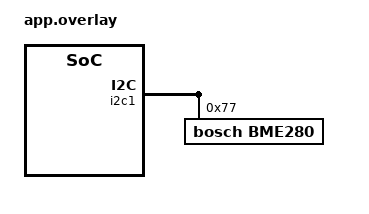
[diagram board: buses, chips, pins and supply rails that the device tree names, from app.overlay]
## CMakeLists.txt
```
cmake_minimum_required(VERSION 3.20.0)

find_package(Zephyr REQUIRED HINTS $ENV{ZEPHYR_BASE})

project(temp_and_humidity_monitor)

set(SRC_DIR ${CMAKE_CURRENT_LIST_DIR}/src)
set(NOTE_C_SRC_DIR ${SRC_DIR}/note-c)
set(NEVM_SRC_DIR ${SRC_DIR}/notecard_env_var_manager/src)

zephyr_compile_options(
    # -ggdb
    # -Og
    -O2
    -Wall
    # -Wextra
    -Wno-unused-parameter
    # -Wpedantic
)

target_sources(
    app
    PRIVATE
        # Application sources.
        ${SRC_DIR}/actuator.c
        ${SRC_DIR}/main.c
        ${SRC_DIR}/note_c_hooks.c
        # note-c sources.
        ${NOTE_C_SRC_DIR}/n_atof.c
        ${NOTE_C_SRC_DIR}/n_cjson.c
        ${NOTE_C_SRC_DIR}/n_const.c
        ${NOTE_C_SRC_DIR}/n_helpers.c
        ${NOTE_C_SRC_DIR}/n_i2c.c
        ${NOTE_C_SRC_DIR}/n_printf.c
        ${NOTE_C_SRC_DIR}/n_serial.c
        ${NOTE_C_SRC_DIR}/n_ua.c
        ${NOTE_C_SRC_DIR}/n_b64.c
        ${NOTE_C_SRC_DIR}/n_cjson_helpers.c
        ${NOTE_C_SRC_DIR}/n_ftoa.c
        ${NOTE_C_SRC_DIR}/n_hooks.c
        ${NOTE_C_SRC_DIR}/n_md5.c
        ${NOTE_C_SRC_DIR}/n_request.c
        ${NOTE_C_SRC_DIR}/n_str.c
        # Notecard env var manager sources.
        ${NEVM_SRC_DIR}/NotecardEnvVarManager.c
)
target_include_directories(
    app
    PRIVATE
        ${SRC_DIR}
        ${NOTE_C_SRC_DIR}
        ${NEVM_SRC_DIR}
)
```

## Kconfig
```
# Copyright (c) 2020, Nordic Semiconductor ASA
# SPDX-License-Identifier: Apache-2.0

config LOG
    default y

config LOG_PRINTK
    default y

config SENSOR_LOG_LEVEL
    default 4

# Enable SPI and I2C support by default so that the sample works with
# the device connected either way. These defaults can be overridden if
# needed.
config SPI
    default y

config I2C
    default y

source "Kconfig.zephyr"
```

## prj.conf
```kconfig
# Provides access to onboard LED
CONFIG_GPIO=y

# Notecard Communication Channel
CONFIG_I2C=y

# Required by `note-c`
CONFIG_NEWLIB_LIBC=y

# Debugging Configuration
CONFIG_PRINTK=y

# Needed to use the BME280 via Zephyr's sensor API.
CONFIG_SENSOR=y
```

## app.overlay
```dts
&i2c1 {
    status = "okay";
    bme280@77 {
        compatible = "bosch,bme280";
        reg = <0x77>;
    };
};

&{/gpio_keys} {
    actuator_pin: actuator_pin {
        label = "Actuator";
        gpios = <&gpioa 4 GPIO_ACTIVE_HIGH>;
    };

    attn_pin: attn_pin {
        label = "ATTN";
        gpios = <&gpioa 5 GPIO_ACTIVE_HIGH>;
    };
};

&{/aliases} {
    actuator = &actuator_pin;
    attn = &attn_pin;
};
```

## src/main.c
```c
//
// Copyright 2022 Blues Inc.  All rights reserved.
// Use of this source code is governed by licenses granted by the
// copyright holder including that found in the LICENSE file.
//

#include <stdlib.h>
#include <string.h>

#include <zephyr/drivers/sensor.h>
#include <zephyr/sys/printk.h>
#include <zephyr/device.h>

#include <note.h>
#include <NotecardEnvVarManager.h>

#include "actuator.h"
#include "note_c_hooks.h"

// Uncomment this line and replace com.your-company:your-product-name with your
// ProductUID.
#define PRODUCT_UID "com.blues.eoss"

#ifndef PRODUCT_UID
#define PRODUCT_UID "" // "com.my-company.my-name:my-project"
#pragma message "PRODUCT_UID is not defined in this example. Please ensure your Notecard has a product identifier set before running this example or define it in code here. More details at https://bit.ly/product-uid"
#endif

// Sync outbound notes to Notehub a minimum of every 3 minutes.
#define OUTBOUND_SYNC_MINS 3
// Check for environment variable changes every 30 seconds.
#define ENV_POLL_MS (30 * 1000)
// After triggering an alarm, raise the alarm every minute after that.
#define ALARM_REFRESH_MS (60 * 1000)
// Read the sensor every minute.
#define SENSOR_READ_INTERVAL_MS (60 * 1000)
// Publish temperature and humidity every 3 minutes.
#define REPORT_INTERVAL_DEFAULT_MS (180 * 1000)
// Temperature in C.
#define TEMPERATURE_MIN_DEFAULT 5
#define TEMPERATURE_MAX_DEFAULT 33
// Relative humidity.
#define HUMIDITY_MIN_DEFAULT 20
#define HUMIDITY_MAX_DEFAULT 70

typedef struct AppState {
    uint32_t lastEnvVarPollMs;
    uint32_t envLastModTime;
    uint32_t reportIntervalMs;
    uint32_t reportLastUpdateMs;
    uint32_t sensorLastReadMs;
    uint32_t lastAlarmMs;
    float temperatureMin;
    float temperatureMax;
    float humidityMin;
    float humidityMax;
    float temperature;
    float humidity;
} AppState;

volatile static bool notecard_lock = false;
static const char *envVarNames[] = {
    "report_interval",
    "temperature_threshold_min",
    "temperature_threshold_max",
    "humidity_threshold_min",
    "humidity_threshold_max"
};
AppState state = {0};
NotecardEnvVarManager *envVarManager;
const struct device *const bme280 = DEVICE_DT_GET_ANY(bosch_bme280);

// The environment variable manager callback is called once for each variable
// that has changed.
void envVarManagerCb(const char *var, const char *val, void *ctx) {
    AppState *state = (AppState *)ctx;

    // Convert value string to positive float values
    char *endPtr;
    float value = strtof(val, &endPtr);
    if ((value == 0 && val == endPtr) || value < 0) {
        printk("ERROR: Failed to convert %s to positive "
            "float for %s variable.\n", val, var);
        return;
    }

    // Cache the values for each variable.
    if (strcmp(var, "report_interval") == 0)
    {
        state->reportIntervalMs = (uint32_t)(value * 1000);
        printk("Report interval set to %u ms.\n",
            state->reportIntervalMs);
    }
    else if (strcmp(var, "temperature_threshold_min") == 0)
    {
        state->temperatureMin = value;
        printk("Temperature min set to %sC.\n", val);
    }
    else if (strcmp(var, "temperature_threshold_max") == 0)
    {
        state->temperatureMax = value;
        printk("Temperature max set to %sC.\n", val);
    }
    else if (strcmp(var, "humidity_threshold_min") == 0)
    {
        state->humidityMin = value;
        printk("Humidity min set to %s%%.\n", val);
    }
    else if (strcmp(var, "humidity_threshold_max") == 0)
    {
        state->humidityMax = value;
        printk("Humidity max set to %s%%.\n", val);
    }
    else
    {
        printk("Unknown environment variable %s.\n", var);
    }
}

// Simple mutex for the I2C bus. This will spin forever until the lock is released.
void lockNotecard(void)
{
    while (notecard_lock) {
        NoteDelayMs(1);
    }

    notecard_lock = true;
}

void unlockNotecard(void)
{
    notecard_lock = false;
}


// Check for environment variable changes. Returns true if there are changes and
// false otherwise.
bool pollEnvVars()
{
    uint32_t currentMs = platform_millis();

    // Don't check for changes unless its time to do so.
    if (currentMs - state.lastEnvVarPollMs < ENV_POLL_MS) {
        return false;
    }

    state.lastEnvVarPollMs = currentMs;

    J *rsp = NoteRequestResponse(NoteNewRequest("env.modified"));
    if (rsp == NULL) {
        printk("NULL response to env.modified.\n");
        return false;
    }

    uint32_t modifiedTime = JGetInt(rsp, "time");
    NoteDeleteResponse(rsp);
    // If the last modified timestamp is the same as the one we've got saved,
    // there have been no changes.
    if (state.envLastModTime == modifiedTime) {
        return false;
    }

    state.envLastModTime = modifiedTime;

    printk("Environment variable changed detected.\n");

    return true;
}

// Add a note with temperature and humidity data to data.qo. The note will be
// synced to Notehub according to the interval set with hub.set's outbound
// parameter in the setup function (see OUTBOUND_SYNC_MINS).
void publishSystemStatus()
{
    J *req = NoteNewRequest("note.add");
    if (req != NULL) {
        JAddStringToObject(req, "file", "data.qo");

        J *body = JCreateObject();
        if (body != NULL) {
            JAddNumberToObject(body, "temperature", state.temperature);
            JAddNumberToObject(body, "humidity", state.humidity);
            JAddStringToObject(body, "app", "nf18");
            JAddItemToObject(req, "body", body);

            NoteRequest(req);
        }
        else {
            printk("Failed to create body for system status "
                "update.\n");
        }
    }
    else {
        printk("Failed to create note.add request for system status "
            "update.\n");
    }
}

// Used in the main loop to check for and accept environment variable updates.
// If any variables are updated, this function sends a note to Notehub to
// acknowledge the update.
void updateEnvVars()
{
    if (pollEnvVars()) {
        NotecardEnvVarManager_fetch(envVarManager, envVarNames, (sizeof(envVarNames) / sizeof(envVarNames[0])));

        // Generate a note to Notehub to acknowledge the update.
        J *req = NoteNewRequest("note.add");
        if (req != NULL) {
            JAddStringToObject(req, "file", "notify.qo");
            JAddBoolToObject(req, "sync", true);

            J *body = JCreateObject();
            if (body != NULL) {
                JAddStringToObject(body, "message", "environment variable "
                    "update received");
                JAddItemToObject(req, "body", body);
                NoteRequest(req);
            }
            else {
                free(req);
                printk("Failed to create note body for env var "
                    "update ack.\n");
            }
        }
        else {
            printk("Failed to create note.add request for env "
                "var update ack.\n");
        }
    }
}

// One-time Arduino initialization.
void setup()
{
    // Set up debug output via serial connection.
#define RELEASE
#ifndef RELEASE
#warning "Debug mode is enabled. Define RELEASE to disable debug."
    NoteSetFnDebugOutput(noteLogPrint);
#endif

    // Initialize the physical I/O channel to the Notecard.
    NoteSetFnMutex(NULL, NULL, lockNotecard, unlockNotecard);
    NoteSetFnDefault(malloc, free, platform_delay, platform_millis);
    NoteSetFnI2C(NOTE_I2C_ADDR_DEFAULT, NOTE_I2C_MAX_DEFAULT, noteI2cReset,
                 noteI2cTransmit, noteI2cReceive);

    // Initialize the Notecard Environment Variable Manager.
    envVarManager = NotecardEnvVarManager_alloc();
    if (envVarManager == NULL) {
        printk("Failed to allocate NotecardEnvVarManager.\n");
    }
    else {
        NotecardEnvVarManager_setEnvVarCb(envVarManager, envVarManagerCb, &state);
    }

    // Set defaults.
    state.reportIntervalMs = REPORT_INTERVAL_DEFAULT_MS;
    state.temperatureMin = TEMPERATURE_MIN_DEFAULT;
    state.temperatureMax = TEMPERATURE_MAX_DEFAULT;
    state.humidityMin = HUMIDITY_MIN_DEFAULT;
    state.humidityMax = HUMIDITY_MAX_DEFAULT;

    // Configure the productUID and instruct the Notecard to sync outbound notes
    // a minimum of every OUTBOUND_SYNC_MINS minutes.
    J *req = NoteNewRequest("hub.set");
    if (PRODUCT_UID[0]) {
       JAddStringToObject(req, "product", PRODUCT_UID);
    }
    JAddStringToObject(req, "mode", "continuous");
    JAddBoolToObject(req, "sync", true);
    JAddNumberToObject(req, "outbound", OUTBOUND_SYNC_MINS);
    NoteRequest(req);

    // Send a note to _health.qo when USB power is lost or restored.
    req = NoteNewRequest("card.voltage");
    JAddBoolToObject(req, "usb", true);
    JAddBoolToObject(req, "alert", true);
    JAddBoolToObject(req, "sync", true);
    NoteRequest(req);

    updateEnvVars();
    initActuator();

    // Initialize the BME280 sensor
    if (!device_is_ready(bme280)) {
        printk("getDevice: error: Device \"%s\" is not ready; "
               "check the driver initialization logs for errors.\n",
               bme280->name);
    }
    else {
        printk("Connected to BME280.\n");
    }
}

void readSensor()
{
    struct sensor_value temperature, humidity;
    sensor_sample_fetch(bme280);
    sensor_channel_get(bme280, SENSOR_CHAN_AMBIENT_TEMP, &temperature);
    sensor_channel_get(bme280, SENSOR_CHAN_HUMIDITY, &humidity);
    state.temperature = sensor_value_to_double(&temperature);
    state.humidity = sensor_value_to_double(&humidity);
}

// Construct an alarm note and add it to alarm.qo, syncing it to Notehub
// immediately.
void publishAlarm(const char *temperatureStatus, const char *humidityStatus)
{
    if (temperatureStatus == NULL || humidityStatus == NULL) {
        printk("publishAlarm called with a NULL status.\n");
        return;
    }

    J *req = NoteNewRequest("note.add");
    if (req != NULL) {
        JAddStringToObject(req, "file", "alarm.qo");
        JAddBoolToObject(req, "sync", true);

        J *body = JCreateObject();
        if (body != NULL) {
            J *temperatureBody = JCreateObject();
            if (temperatureBody != NULL){
                JAddNumberToObject(temperatureBody, "value", state.temperature);
                JAddStringToObject(temperatureBody, "status",
                    temperatureStatus);
                JAddItemToObject(body, "temperature", temperatureBody);

                J *humidityBody = JCreateObject();
                if (humidityBody != NULL){
                    JAddNumberToObject(humidityBody, "value", state.humidity);
                    JAddStringToObject(humidityBody, "status", humidityStatus);
                    JAddItemToObject(body, "humidity", humidityBody);
                }
                else {
                    printk("Failed to create humidity body for "
                        "alarm.\n");
                }
            }
            else {
                printk("Failed to create temperature body for "
                    "alarm.\n");
            }

            JAddItemToObject(req, "body", body);

            NoteRequest(req);
        }
        else {
            printk("Failed to create body for alarm.\n");
        }
    }
    else {
        printk("Failed to create note.add request for alarm.\n");
    }
}

static const char statusOk[] = "ok";
static const char statusLow[] = "low";
static const char statusHigh[] = "high";

// Check if the temperature or humidity is outside the configured range for each
// value. If both are in range, do nothing. If either is out of range, send an
// alarm note to Notehub.
void checkAlarm()
{
    const char *temperatureStatus = statusOk;
    const char *humidityStatus = statusOk;

    if (state.temperature < state.temperatureMin) {
        temperatureStatus = statusLow;
    }
    else if (state.temperature > state.temperatureMax) {
        temperatureStatus = statusHigh;
    }

    if (state.humidity < state.humidityMin) {
        humidityStatus = statusLow;
    }
    else if (state.humidity > state.humidityMax) {
        humidityStatus = statusHigh;
    }

    // If either status is not "ok".
    if (strcmp(temperatureStatus, statusOk) ||
        strcmp(humidityStatus, statusOk)) {
        uint32_t currentMs = platform_millis();
        if (state.lastAlarmMs == 0 || (currentMs - state.lastAlarmMs) >=
            ALARM_REFRESH_MS) {
            state.lastAlarmMs = currentMs;
            publishAlarm(temperatureStatus, humidityStatus);
        }
    }
    else {
        state.lastAlarmMs = 0;
    }
}

void loop()
{
    updateEnvVars();

    uint32_t currentMs = platform_millis();
    if (currentMs - state.sensorLastReadMs >= SENSOR_READ_INTERVAL_MS) {
        state.sensorLastReadMs = currentMs;
        readSensor();
    }

    checkAlarm();

    currentMs = platform_millis();
    if (currentMs - state.reportLastUpdateMs >= state.reportIntervalMs) {
        state.reportLastUpdateMs = currentMs;
        publishSystemStatus();
    }
}

void NoteUserAgentUpdate(J *ua) {
    JAddStringToObject(ua, "app", "nf18");
}

// Simulate Arduino Runtime
int main (void) {
    setup();
    while(1) {
        loop();
    }
}
```

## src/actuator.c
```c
#include "actuator.h"

#include <stdlib.h>

#include <zephyr/drivers/gpio.h>
#include <zephyr/device.h>
#include <zephyr/kernel.h>

#include <note.h>
#include "note_c_hooks.h"

// Actuator pin
#define ACTUATOR_NODE DT_ALIAS(actuator)
#if !DT_NODE_HAS_STATUS(ACTUATOR_NODE, okay)
#error "Unsupported board: actuator devicetree alias is not defined"
#endif

static const struct gpio_dt_spec actuator = GPIO_DT_SPEC_GET_OR(ACTUATOR_NODE, gpios, {0});

// ATTN pin
#define ATTN_NODE DT_ALIAS(attn)
#if !DT_NODE_HAS_STATUS(ATTN_NODE, okay)
#error "Unsupported board: attn devicetree alias is not defined"
#endif

static const struct gpio_dt_spec attn = GPIO_DT_SPEC_GET_OR(ATTN_NODE, gpios, {0});

static struct gpio_callback attnIsrData;
static const char queue_file[] = "actuator.qi";

// Function declaration(s)
static void attnArm(void);
static void attnWorkCb(struct k_work *);
static void attnIsr(const struct device *, struct gpio_callback *, uint32_t);
static int configureGpio(void);
static void deleteNote(J *note_);
static J *dequeueCommand(bool pop_);
static J *emptyNotecardQueue(void);

// Arm the Notecard's ATTN interrupt.
static void attnArm(void)
{
    // Once ATTN has triggered, it stays set until explicitly rearmed. Rearm it
    // here. It will trigger again after a change to the watched Notefile.
    J *req = NoteNewRequest("card.attn");
    if (req)
    {
        JAddStringToObject(req, "mode", "rearm,files");
        J *files = JAddArrayToObject(req, "files");
        if (files)
        {
            JAddItemToArray(files, JCreateString(queue_file));
            NoteRequest(req);
        }
        else
        {
            NoteDeleteResponse(req);
        }
    }
}

static void attnWorkCb(struct k_work *)
{
    // Drain `actuator.qi`
    J *note = emptyNotecardQueue();

    // Inspect last Note
    if (note)
    {
        // Evaluate Note
        deleteNote(note);

        // Actuate
        gpio_pin_toggle_dt(&actuator);
        printk("Actuator: ON\n");
        NoteDelayMs(1000);
        gpio_pin_toggle_dt(&actuator);
        printk("Actuator: OFF\n");
    }

    // Rearm
    attnArm();
}

K_WORK_DEFINE(attnWorkItem, attnWorkCb);

static void attnIsr(const struct device *, struct gpio_callback *, uint32_t)
{
    k_work_submit(&attnWorkItem);
}

// Configure the GPIO pins used by the actuator.
static int configureGpio(void)
{
    int result;

    // ATTN pin setup
    if (!device_is_ready(attn.port))
    {
        printk("Error: ATTN GPIO device %s is not ready\n", attn.port->name);
        return -1;
    }

    // Configure ATTN pin as input
    result = gpio_pin_configure_dt(&attn, GPIO_INPUT);
    if (result != 0)
    {
        printk("Error %d: failed to configure %s pin %d\n",
               result, attn.port->name, attn.pin);
        return result;
    }

    // Configure ATTN pin interrupt to trigger on rising edge
    result = gpio_pin_interrupt_configure_dt(&attn, GPIO_INT_EDGE_TO_ACTIVE);
    if (result != 0)
    {
        printk("Error %d: failed to configure interrupt on %s pin %d\n",
               result, attn.port->name, attn.pin);
        return result;
    }

    // Register ATTN pin interrupt callback
    gpio_init_callback(&attnIsrData, attnIsr, BIT(attn.pin));
    gpio_add_callback(attn.port, &attnIsrData);

    printk("Set up ATTN at %s pin %d\n", attn.port->name, attn.pin);

    // Actuator pin setup
    if (!device_is_ready(actuator.port))
    {
        printk("Error: Valve GPIO device %s is not ready\n", actuator.port->name);
        return -1;
    }

    // Configure actuator pin as output
    result = gpio_pin_configure_dt(&actuator, GPIO_OUTPUT_INACTIVE);
    if (result != 0)
    {
        printk("Error %d: failed to configure %s pin %d\n",
               result, actuator.port->name, actuator.pin);
        return result;
    }

    printk("Set up actuator at %s pin %d\n", actuator.port->name, actuator.pin);

    return result;
}

static void deleteNote(J *note_)
{
    if (!note_)
    {
        return;
    }

    char *msg = JConvertToJSONString(note_);
    printk("Deleted message with contents:\n\t> %s\n", msg);
    free(msg);
    NoteDeleteResponse(note_);
}

static J *dequeueCommand(bool pop_)
{
    J *rsp = NULL;

    J *req = NoteNewRequest("note.get");
    if (req)
    {
        JAddStringToObject(req, "file", queue_file);
        JAddBoolToObject(req, "delete", pop_);
        rsp = NoteRequestResponse(req);
    }

    return rsp;
}

static J *emptyNotecardQueue(void)
{
    J *rsp = NULL;
    J *prev_rsp = NULL;

    for (bool empty = false; !empty;)
    {
        rsp = dequeueCommand(true);
        if (rsp)
        {
            if (NoteResponseError(rsp))
            {
                deleteNote(rsp);
                empty = true;
            }
            else if (prev_rsp)
            {
                deleteNote(prev_rsp);
            }
            else
            {
                prev_rsp = rsp;
            }
        }
        else
        {
            printk("ERROR: Notecard communication error!\n");
            NoteDelayMs(250);
        }
    }

    return prev_rsp;
}

void initActuator(void)
{
    configureGpio();
    attnArm();
}
```

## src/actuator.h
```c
#ifndef ACTUATOR_H
#define ACTUATOR_H

void initActuator (void);

#endif // ACTUATOR_H
```

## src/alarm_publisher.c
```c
// Standard C headers.
#include <stdio.h>
#include <stdlib.h>
#include <string.h>

// Zephyr headers.
#include <zephyr/kernel.h>

// Notecard headers.
#include "note.h"

// Application headers.
#include "alarm_publisher.h"

struct AlarmPublisherCtx {
    const Bme280Ctx *bme280Ctx;
    struct k_timer alarmCheckTimer;
    struct k_timer alarmCooldownTimer;
    struct k_work alarmCheckWorkItem;
    double tempMin;
    double tempMax;
    double humidMin;
    double humidMax;
    uint32_t checkInterval;
    bool started;
    volatile bool coolingDown;
};

// Forward declarations.
static void checkAlarm(AlarmPublisherCtx *ctx);
static bool publishAlarm(const char *tempStatus,
    const char *humidStatus, double temp, double humid);

static const char statusOk[] = "ok";
static const char statusLow[] = "low";
static const char statusHigh[] = "high";

// The user can define ALARM_COOLDOWN_SECONDS to override the cooldown timer
// interval.
#ifndef ALARM_COOLDOWN_SECONDS
#define ALARM_COOLDOWN_SECONDS (60 * 5) // 5 minutes
#endif

/**
 * Callback that will be executed when the alarm check timer expires.
 *
 * @param timer The timer handle.
 */
static void alarmCheckTimerCb(struct k_timer *timer)
{
    AlarmPublisherCtx *ctx = CONTAINER_OF(timer, AlarmPublisherCtx,
        alarmCheckTimer);
    k_work_submit(&ctx->alarmCheckWorkItem);
}

/**
 * Callback that will be executed by the system workqueue when it's time to
 * check for alarm conditions.
 *
 * @param item The alarm check work item.
 */
static void alarmCheckWorkCb(struct k_work *item)
{
    AlarmPublisherCtx *ctx = CONTAINER_OF(item, AlarmPublisherCtx,
        alarmCheckWorkItem);
    checkAlarm(ctx);
}

/**
 * Callback that will be executed when the alarm cooldown timer expires.
 *
 * @param timer The timer handle.
 */
static void alarmCooldownTimerCb(struct k_timer *timer)
{
    AlarmPublisherCtx *ctx = CONTAINER_OF(timer, AlarmPublisherCtx,
        alarmCooldownTimer);
    ctx->coolingDown = false;
}

/**
 * Allocate and initialize a new alarm publisher context.
 *
 * @param bme280Ctx     A BME280 context object.
 * @param checkInterval The interval to check for alarm conditions, in seconds.
 * @param tempMin       The minimum allowed temperature.
 * @param tempMax       The maximum allowed temperature.
 * @param humidMin      The minimum allowed humidity.
 * @param humidMax      The maximum allowed humidity.
 *
 * @return A valid AlarmPublisherCtx pointer on success and NULL on failure.
 */
AlarmPublisherCtx *alarmPublisherInit(const Bme280Ctx* bme280Ctx,
    uint32_t checkInterval, double tempMin, double tempMax, double humidMin,
    double humidMax)
{
    if (bme280Ctx == NULL) {
        printk("alarmPublisherInit: error: Called with NULL bme280Ctx.\n");
        return NULL;
    }
    if (checkInterval == 0) {
        printk("alarmPublisherInit: error: Called with 0 check interval. Must "
            "be > 0.\n");
        return NULL;
    }

    AlarmPublisherCtx *ctx = (AlarmPublisherCtx *)malloc(
        sizeof(AlarmPublisherCtx));
    if (ctx == NULL) {
        printk("alarmPublisherInit: error: failed to allocate PublisherCtx.\n");
        return NULL;
    }
    memset(ctx, 0, sizeof(*ctx));

    ctx->bme280Ctx = bme280Ctx;
    ctx->checkInterval = checkInterval;
    ctx->tempMin = tempMin;
    ctx->tempMax = tempMax;
    ctx->humidMin = humidMin;
    ctx->humidMax = humidMax;

    k_timer_init(&ctx->alarmCheckTimer, alarmCheckTimerCb, NULL);
    k_timer_init(&ctx->alarmCooldownTimer, alarmCooldownTimerCb, NULL);
    k_work_init(&ctx->alarmCheckWorkItem, alarmCheckWorkCb);

    printk("alarmPublisherInit: Initialized alarm publisher.\n");

    return ctx;
}

/**
 * Start the alarm check timer. Alarm conditions will be checked according to
 * the interval passed to alarmPublisherInit.
 *
 * @param ctx The publisher context object.
 *
 * @return True on success and false on failure.
 */
bool alarmPublisherStart(AlarmPublisherCtx *ctx)
{
    if (ctx == NULL) {
        printk("alarmPublisherStart: error: Called with NULL ctx.\n");
        return false;
    }

    k_timer_start(&ctx->alarmCheckTimer, K_SECONDS(0),
        K_SECONDS(ctx->checkInterval));
    ctx->started = true;

    return true;
}

/**
 * Stop the alarm check timer. Alarm conditions won't be checked until
 * alarmPublisherStart is called again.
 *
 * @param ctx The publisher context object.
 *
 * @return True on success and false on failure.
 */
bool alarmPublisherStop(AlarmPublisherCtx *ctx)
{
    if (ctx == NULL) {
        printk("alarmPublisherStop: error: Called with NULL ctx.\n");
        return false;
    }

    k_timer_stop(&ctx->alarmCheckTimer);
    ctx->started = false;

    return true;
}

/**
 * Update one of the bounds used for triggering alarms.
 *
 * @param ctx    An alarm publisher context object.
 * @param bound  The bound to update. See alarm_publisher.h's AlarmBound enum
 *               for possible values.
 * @param newVal The new value for the bound.
 *
 * @return True on success and false on failure.
 */
bool alarmPublisherUpdateBound(AlarmPublisherCtx* ctx, AlarmBound bound,
    double newVal)
{
    if (ctx == NULL) {
        printk("alarmPublisherUpdateTempMax: error: Called with NULL ctx.\n");
        return false;
    }

    double *field;
    switch (bound) {
        case TEMP_MIN:
            field = &ctx->tempMin;
            break;
        case TEMP_MAX:
            field = &ctx->tempMax;
            break;
        case HUMID_MIN:
            field = &ctx->humidMin;
            break;
        case HUMID_MAX:
            field = &ctx->humidMax;
            break;
        default:
            printk("alarmPublisherUpdateBound: error: Unrecognized bound.\n");
            return false;
    }

    k_timer_stop(&ctx->alarmCheckTimer);
    k_timer_stop(&ctx->alarmCooldownTimer);
    ctx->coolingDown = false;

    *field = newVal;

    if (ctx->started) {
        k_timer_start(&ctx->alarmCheckTimer, K_SECONDS(0),
            K_SECONDS(ctx->checkInterval));
    }

    return true;
}

/**
 * Check to see if temperature or humidity are out of bounds and, if so, publish
 * an alarm.
 *
 * @param ctx An alarm publisher context object.
 */
static void checkAlarm(AlarmPublisherCtx *ctx)
{
    // If we're in the alarm cooldown period, don't check alarm conditions.
    if (ctx->coolingDown) {
        return;
    }

    double temp, humid;
    if (!bme280GetTempAndHumidity(ctx->bme280Ctx, &temp, &humid)) {
        printk("checkAlarm: error: bme280GetTempAndHumidity failed.\n");
        return;
    }

    const char *tempStatus = statusOk;
    const char *humidStatus = statusOk;

    // We use printf for these alarm logs because printk doesn't support
    // printing doubles.
    if (temp < ctx->tempMin) {
        tempStatus = statusLow;
        printf("checkAlarm: temp is low @ %.2f, min is %.2f.\n", temp,
            ctx->tempMin);
    }
    else if (temp > ctx->tempMax) {
        tempStatus = statusHigh;
        printf("checkAlarm: temp is high @ %.2f, max is %.2f.\n", temp,
            ctx->tempMax);
    }

    if (humid < ctx->humidMin) {
        humidStatus = statusLow;
        printf("checkAlarm: humid is low @ %.2f, min is %.2f.\n", humid,
            ctx->humidMin);
    }
    else if (humid > ctx->humidMax) {
        humidStatus = statusHigh;
        printf("checkAlarm: humid is high @ %.2f, max is %.2f.\n", humid,
            ctx->humidMax);
    }

    // If either status is not "ok".
    if (strcmp(tempStatus, statusOk) || strcmp(humidStatus, statusOk)) {
        if (!publishAlarm(tempStatus, humidStatus, temp, humid)) {
            printk("checkAlarm: error: publishAlarm failed.\n");
            return;
        }

        // To avoid spamming Notehub about the same alarm condition over and
        // over, we use a cooldown timer. Once we publish an alarm, this timer
        // counts down from ALARM_COOLDOWN_SECONDS. Only once that timer hits
        // 0 are we allowed to publish another alarm.
        ctx->coolingDown = true;
        k_timer_start(&ctx->alarmCooldownTimer,
            K_SECONDS(ALARM_COOLDOWN_SECONDS), K_FOREVER);
    }
}

/**
 * Publish an alarm note to Notehub.
 *
 * @param tempStatus  A string with the temperature alarm status.
 * @param humidStatus A string with the humidity alarm status.
 * @param temp        The temperature at the time the alarm was triggered.
 * @param humid       The humidity at the time the alarm was triggered.
 *
 * @return True on success and false on failure.
 */
static bool publishAlarm(const char *tempStatus,
    const char *humidStatus, double temp, double humid)
{
    J *req = NoteNewRequest("note.add");
    J *body = JCreateObject();
    J *temperatureBody = JCreateObject();
    J *humidityBody = JCreateObject();
    if (req == NULL || body == NULL || temperatureBody == NULL ||
        humidityBody == NULL) {
        printk("publishAlarm: error: Failed to allocate memory for alarm note."
            "\n");
        return false;
    }

    JAddStringToObject(req, "file", "alarm.qo");
    JAddBoolToObject(req, "sync", true);
    JAddNumberToObject(temperatureBody, "value", temp);
    JAddStringToObject(temperatureBody, "status",
        tempStatus);
    JAddItemToObject(body, "temperature", temperatureBody);
    JAddNumberToObject(humidityBody, "value", humid);
    JAddStringToObject(humidityBody, "status", humidStatus);
    JAddItemToObject(body, "humidity", humidityBody);
    JAddItemToObject(req, "body", body);

    if (!NoteRequest(req)) {
        printk("publishAlarm: error: Failed to send alarm note.\n");
        return false;
    }

    printk("publishAlarm: Sent alarm note.\n");

    return true;
}
```

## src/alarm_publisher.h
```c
#pragma once

// C standard headers.
#include <stdint.h>
#include <stdbool.h>

// Application headers.
#include "bme280.h"

struct AlarmPublisherCtx;
typedef struct AlarmPublisherCtx AlarmPublisherCtx;

typedef enum {
    TEMP_MIN,
    TEMP_MAX,
    HUMID_MIN,
    HUMID_MAX
} AlarmBound;

AlarmPublisherCtx *alarmPublisherInit(const Bme280Ctx* bme280Ctx,
    uint32_t checkInterval, double tempMin, double tempMax, double humidMin,
    double humidMax);
bool alarmPublisherUpdateBound(AlarmPublisherCtx* ctx, AlarmBound bound,
    double newVal);
bool alarmPublisherStart(AlarmPublisherCtx *ctx);
bool alarmPublisherStop(AlarmPublisherCtx *ctx);

#define alarmPublisherUpdateTempMin(ctx, newVal) alarmPublisherUpdateBound(ctx, TEMP_MIN, newVal)
#define alarmPublisherUpdateTempMax(ctx, newVal) alarmPublisherUpdateBound(ctx, TEMP_MAX, newVal)
#define alarmPublisherUpdateHumidMin(ctx, newVal) alarmPublisherUpdateBound(ctx, HUMID_MIN, newVal)
#define alarmPublisherUpdateHumidMax(ctx, newVal) alarmPublisherUpdateBound(ctx, HUMID_MAX, newVal)
```

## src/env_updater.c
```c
// Standard C headers.
#include <stdlib.h>
#include <string.h>

// Zephyr headers.
#include <zephyr/kernel.h>

// Notecard headers.
#include "NotecardEnvVarManager.h"

// Application headers.
#include "env_updater.h"
#include "publisher.h"

struct EnvUpdaterCtx {
    PublisherCtx *publisherCtx;
    AlarmPublisherCtx *alarmPublisherCtx;
    NotecardEnvVarManager *envVarManager;
    struct k_work envUpdateWorkItem;
    struct k_timer envUpdateTimer;
    uint32_t envLastModTime;
    uint32_t interval;
};

// Forward declarations.
static void envUpdateTimerCb(struct k_timer *timer);
static void envUpdateWorkCb(struct k_work *item);

static const char *envVars[] = {
    "monitor_interval",
    "temperature_threshold_min",
    "temperature_threshold_max",
    "humidity_threshold_min",
    "humidity_threshold_max"
};
static const size_t numEnvVars = sizeof(envVars) / sizeof(envVars[0]);

static void envVarManagerCb(const char *var, const char *val, void *userCtx)
{
    EnvUpdaterCtx* envUpdaterCtx = (EnvUpdaterCtx*)userCtx;
    float value;
    char *endPtr;

    value = strtof(val, &endPtr);
    if ((value == 0 && val == endPtr) || value < 0) {
        printk("envVarManagerCb: error: Failed to convert %s to positive float "
            "for %s.\n", val, var);
        return;
    }

    if (strcmp(var, "monitor_interval") == 0) {
        uint32_t interval = (uint32_t)(value);
        printk("envVarManagerCb: Monitor interval set to %u seconds.\n",
            interval);
        // If the monitor interval changed, we need to restart the publisher
        // using the new interval value.
        publisherStop(envUpdaterCtx->publisherCtx);
        publisherStart(envUpdaterCtx->publisherCtx, interval);
    }
    else if (strcmp(var, "temperature_threshold_min") == 0) {
        alarmPublisherUpdateTempMin(envUpdaterCtx->alarmPublisherCtx, value);
        printk("envVarManagerCb: Temperature min set to %sC.\n", val);
    }
    else if (strcmp(var, "temperature_threshold_max") == 0) {
        alarmPublisherUpdateTempMax(envUpdaterCtx->alarmPublisherCtx, value);
        printk("envVarManagerCb: Temperature max set to %sC.\n", val);
    }
    else if (strcmp(var, "humidity_threshold_min") == 0) {
        alarmPublisherUpdateHumidMin(envUpdaterCtx->alarmPublisherCtx, value);
        printk("envVarManagerCb: Humidity min set to %s%%.\n", val);
    }
    else if (strcmp(var, "humidity_threshold_max") == 0) {
        alarmPublisherUpdateHumidMax(envUpdaterCtx->alarmPublisherCtx, value);
        printk("envVarManagerCb: Humidity max set to %s%%.\n", val);
    }
}

/**
 * Allocate and initialize a new environment variable updater context.
 *
 * @param publisherCtx      A publisher context object.
 * @param alarmPublisherCtx An alarm publisher context object.
 *
 * @return A valid EnvUpdaterCtx pointer on success and NULL on failure.
 */
EnvUpdaterCtx *envUpdaterInit(PublisherCtx* publisherCtx,
    AlarmPublisherCtx* alarmPublisherCtx)
{
    if (publisherCtx == NULL) {
        printk("envUpdaterInit: error: Called with NULL publisherCtx.\n");
        return NULL;
    }

    EnvUpdaterCtx *ctx = (EnvUpdaterCtx *)malloc(sizeof(EnvUpdaterCtx));
    if (ctx == NULL) {
        printk("envUpdaterInit: error: failed to allocate EnvUpdaterCtx.\n");
        return NULL;
    }
    memset(ctx, 0, sizeof(*ctx));

    ctx->envVarManager = NotecardEnvVarManager_alloc();
    if (ctx->envVarManager == NULL) {
        printk("envUpdaterInit: error: NotecardEnvVarManager_new failed.\n");
        free(ctx);
        return NULL;
    }
    if (NotecardEnvVarManager_setEnvVarCb(ctx->envVarManager, envVarManagerCb,
            ctx) != NEVM_SUCCESS) {
        printk("envUpdaterInit: error: NotecardEnvVarManager_setEnvVarCb "
            "failed.\n");
        NotecardEnvVarManager_free(ctx->envVarManager);
        free(ctx);
        return NULL;
    }

    ctx->publisherCtx = publisherCtx;
    ctx->alarmPublisherCtx = alarmPublisherCtx;

    k_work_init(&ctx->envUpdateWorkItem, envUpdateWorkCb);
    k_timer_init(&ctx->envUpdateTimer, envUpdateTimerCb, NULL);

    printk("envUpdaterInit: Initialized environment variable updater.\n");

    return ctx;
}

/**
 * Start the environment variable update timer. Notehub will be checked
 * periodically for environment variable updates according to the interval.
 *
 * @param ctx      The environment variable updater context object.
 * @param interval The interval to check for updates, in seconds.
 *
 * @return True on success and false on failure.
 */
bool envUpdaterStart(EnvUpdaterCtx *ctx, uint32_t interval)
{
    if (ctx == NULL) {
        printk("envUpdaterStart: error: Called with NULL ctx.\n");
        return false;
    }
    if (interval == 0) {
        printk("envUpdaterStart: error: Called with 0 interval. Must be > 0."
            "\n");
        return false;
    }

    k_timer_start(&ctx->envUpdateTimer, K_SECONDS(0), K_SECONDS(interval));

    return true;
}

/**
 * Stop the environment variable update timer. Notehub won't be checked for
 * environment variable updates until envUpdaterStart is called again.
 *
 * @param ctx The environment variable updater context object.
 *
 * @return True on success and false on failure.
 */
bool envUpdaterStop(EnvUpdaterCtx *ctx)
{
    if (ctx == NULL) {
        printk("envUpdaterStop: error: Called with NULL ctx.\n");
        return false;
    }

    k_timer_stop(&ctx->envUpdateTimer);

    return true;
}

/**
 * Callback that will be executed when the environment variable update timer
 * expires.
 *
 * @param timer The timer handle.
 */
static void envUpdateTimerCb(struct k_timer *timer)
{
    EnvUpdaterCtx *ctx = CONTAINER_OF(timer, EnvUpdaterCtx, envUpdateTimer);
    k_work_submit(&ctx->envUpdateWorkItem);
}

/**
 * Callback that will be executed by the system workqueue when it's time to
 * check for environment variable updates.
 *
 * @param item The environment variable update work item.
 */
static void envUpdateWorkCb(struct k_work *item)
{
    EnvUpdaterCtx *ctx = CONTAINER_OF(item, EnvUpdaterCtx, envUpdateWorkItem);
    NotecardEnvVarManager_fetch(ctx->envVarManager, envVars, numEnvVars);
}
```

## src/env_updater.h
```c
#pragma once

// C standard headers.
#include <stdint.h>
#include <stdbool.h>

// Application headers.
#include "alarm_publisher.h"
#include "publisher.h"

struct EnvUpdaterCtx;
typedef struct EnvUpdaterCtx EnvUpdaterCtx;

EnvUpdaterCtx *envUpdaterInit(PublisherCtx* publisherCtx,
    AlarmPublisherCtx* alarmPublisherCtx);
bool envUpdaterStart(EnvUpdaterCtx *ctx, uint32_t interval);
bool envUpdaterStop(EnvUpdaterCtx *ctx);
```

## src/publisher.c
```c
// Standard C headers.
#include <stdlib.h>
#include <string.h>

// Zephyr headers.
#include <zephyr/kernel.h>

// Notecard headers.
#include "note.h"

// Application headers.
#include "publisher.h"
#include "bme280.h"

struct PublisherCtx {
    const Bme280Ctx *bme280Ctx;
    struct k_work publishWorkItem;
    struct k_timer publishTimer;
};

// Forward declarations.
static void publishTimerCb(struct k_timer *timer);
static void publishWorkCb(struct k_work *item);

static bool publish(PublisherCtx* ctx)
{
    if (ctx == NULL) {
        printk("publish: error: Called with NULL ctx.\n");
        return false;
    }
    if (ctx->bme280Ctx == NULL) {
        printk("publish: error: Called with NULL ctx->bme280Ctx.\n");
        return false;
    }

    double temp, humidity;
    if (!bme280GetTempAndHumidity(ctx->bme280Ctx, &temp, &humidity)) {
        printk("publish: error: bme280GetTempAndHumidity failed.\n");
        return false;
    }

    J *req = NoteNewRequest("note.add");
    if (req != NULL) {
        JAddStringToObject(req, "file", "data.qo");

        J *body = JCreateObject();
        if (body != NULL) {
            JAddNumberToObject(body, "temperature", temp);
            JAddNumberToObject(body, "humidity", humidity);
            JAddItemToObject(req, "body", body);

            if (!NoteRequest(req)) {
                printk("publish: error: NoteRequest failed.\n");
                return false;
            }
        }
        else {
            JDelete(req);
            printk("publish: error: Failed to create Note body.\n");
            return false;
        }
    }
    else {
        printk("publish: error: Failed to create note.add request.\n");
        return false;
    }

    return true;
}

/**
 * Allocate and initialize a new publisher context.
 *
 * @param bme280Ctx A BME280 context object.
 *
 * @return A valid PublisherCtx pointer on success and NULL on failure.
 */
PublisherCtx *publisherInit(const Bme280Ctx *bme280Ctx)
{
    if (bme280Ctx == NULL) {
        printk("publisherInit: error: Called with NULL bme280Ctx.\n");
        return NULL;
    }

    PublisherCtx *ctx = (PublisherCtx *)malloc(sizeof(PublisherCtx));
    if (ctx == NULL) {
        printk("publisherInit: error: failed to allocate PublisherCtx.\n");
        return NULL;
    }
    memset(ctx, 0, sizeof(*ctx));

    ctx->bme280Ctx = bme280Ctx;

    k_work_init(&ctx->publishWorkItem, publishWorkCb);
    k_timer_init(&ctx->publishTimer, publishTimerCb, NULL);

    printk("publisherInit: Initialized publisher.\n");

    return ctx;
}

/**
 * Start the publish timer. A Note will be published periodically according to
 * the interval.
 *
 * @param ctx      The publisher context object.
 * @param interval The publish interval, in seconds.
 *
 * @return True on success and false on failure.
 */
bool publisherStart(PublisherCtx *ctx, uint32_t interval)
{
    if (ctx == NULL) {
        printk("publisherStart: error: Called with NULL ctx.\n");
        return false;
    }
    if (interval == 0) {
        printk("publisherStart: error: Called with 0 interval. Must be > 0.\n");
        return false;
    }

    k_timer_start(&ctx->publishTimer, K_SECONDS(0), K_SECONDS(interval));

    return true;
}

/**
 * Stop the publish timer. No new Notes will be published until publisherStart
 * is called again.
 *
 * @param ctx The publisher context object.
 *
 * @return True on success and false on failure.
 */
bool publisherStop(PublisherCtx *ctx)
{
    if (ctx == NULL) {
        printk("publisherStop: error: Called with NULL ctx.\n");
        return false;
    }

    k_timer_stop(&ctx->publishTimer);

    return true;
}

/**
 * Callback that will be executed when the publish timer expires.
 *
 * @param timer The timer handle.
 */
static void publishTimerCb(struct k_timer *timer)
{
    PublisherCtx *ctx = CONTAINER_OF(timer, PublisherCtx, publishTimer);
    k_work_submit(&ctx->publishWorkItem);
}

/**
 * Callback that will be executed by the system workqueue when it's time to
 * publish.
 *
 * @param item The publish work item.
 */
static void publishWorkCb(struct k_work *item)
{
    PublisherCtx *ctx = CONTAINER_OF(item, PublisherCtx, publishWorkItem);
    publish(ctx);
}
```
